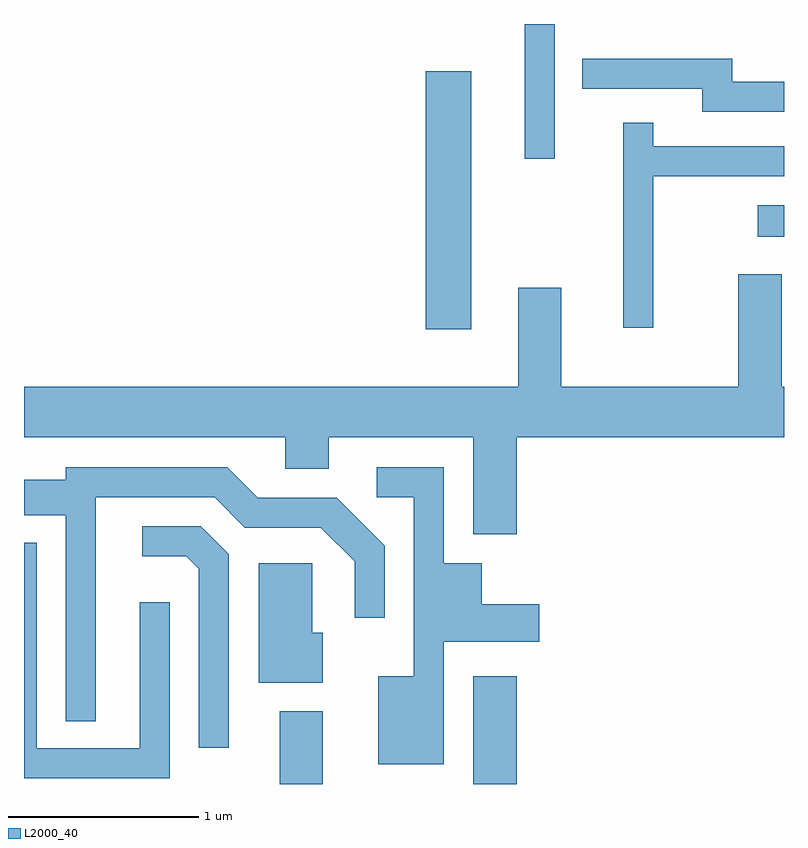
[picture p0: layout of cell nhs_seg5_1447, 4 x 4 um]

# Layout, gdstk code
import gdstk
lib = gdstk.Library(unit=1e-6, precision=1e-09)
def R(c, l, rs):  # rectangles x0, y0, x1, y1
    for r in rs: c.add(gdstk.rectangle(r[:2], r[2:], *l))
def P(c, l, *ps):  # polygons
    for p in ps: c.add(gdstk.Polygon(p, *l))
L2000_40 = (2000, 40)

nhs_seg5_1447 = lib.new_cell('nhs_seg5_1447')
R(nhs_seg5_1447, L2000_40, [(228.956,1466.072,229.184,1466.454), (229.976,1466.072,230.204,1466.639), (229.726,1468.466,229.964,1469.824), (231.473,1468.951,231.611,1469.119), (230.246,1469.363,230.404,1470.072)])
P(nhs_seg5_1447, L2000_40, [(231.611,1469.769),(231.339,1469.769),(231.339,1469.889),(230.548,1469.889),(230.548,1469.731),(231.181,1469.731),(231.181,1469.611),(231.611,1469.611)],
  [(230.924,1469.271),(231.611,1469.271),(231.611,1469.429),(230.924,1469.429),(230.924,1469.553),(230.766,1469.553),(230.766,1468.473),(230.924,1468.473)],
  [(230.204,1467.896),(231.611,1467.896),(231.611,1468.164),(231.599,1468.164),(231.599,1468.754),(231.371,1468.754),(231.371,1468.164),(230.439,1468.164),(230.439,1468.684),(230.211,1468.684),(230.211,1468.164),(227.611,1468.164),(227.611,1467.896),(228.986,1467.896),(228.986,1467.731),(229.214,1467.731),(229.214,1467.896),(229.976,1467.896),(229.976,1467.386),(230.204,1467.386)],
  [(229.819,1466.821),(230.324,1466.821),(230.324,1467.019),(230.019,1467.019),(230.019,1467.234),(229.819,1467.234),(229.819,1467.739),(229.468,1467.739),(229.468,1467.581),(229.661,1467.581),(229.661,1466.639),(229.476,1466.639),(229.476,1466.176),(229.819,1466.176)],
  [(227.989,1467.581),(228.614,1467.581),(228.774,1467.421),(229.174,1467.421),(229.351,1467.244),(229.351,1466.948),(229.509,1466.948),(229.509,1467.327),(229.257,1467.579),(228.842,1467.579),(228.682,1467.739),(227.831,1467.739),(227.831,1467.674),(227.611,1467.674),(227.611,1467.486),(227.831,1467.486),(227.831,1466.403),(227.989,1466.403)],
  [(228.689,1467.282),(228.542,1467.429),(228.233,1467.429),(228.233,1467.271),(228.464,1467.271),(228.531,1467.204),(228.531,1466.263),(228.689,1466.263)],
  [(228.379,1467.028),(228.221,1467.028),(228.221,1466.259),(227.679,1466.259),(227.679,1467.343),(227.611,1467.343),(227.611,1466.101),(228.379,1466.101)],
  [(229.184,1466.869),(229.129,1466.869),(229.129,1467.234),(228.846,1467.234),(228.846,1466.606),(229.184,1466.606)])

lib.write_gds('nhs_seg5_1447.gds')
